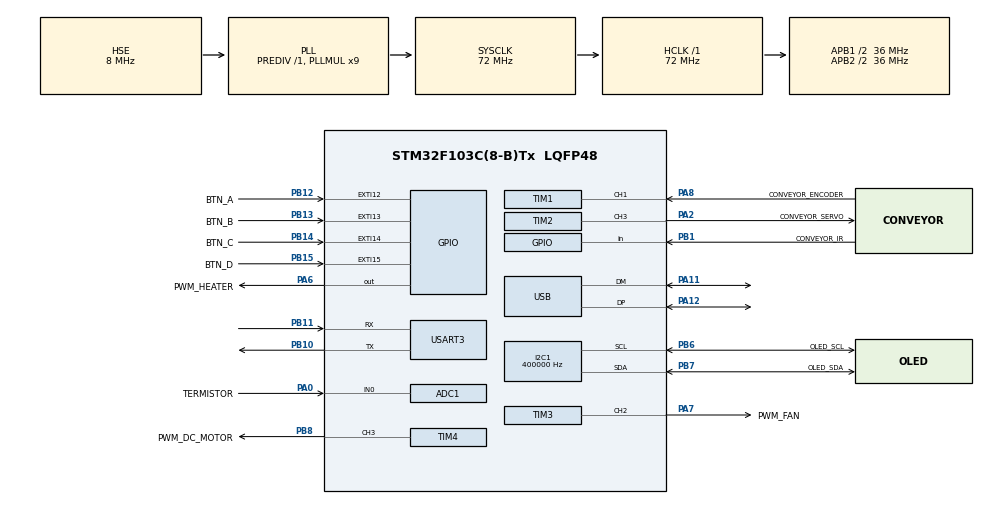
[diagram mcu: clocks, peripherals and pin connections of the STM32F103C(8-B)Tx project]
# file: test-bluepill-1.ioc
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ADC1.Channel-0\#ChannelRegularConversion=ADC_CHANNEL_0
ADC1.NbrOfConversionFlag=1
ADC1.Rank-0\#ChannelRegularConversion=1
ADC1.SamplingTime-0\#ChannelRegularConversion=ADC_SAMPLETIME_239CYCLES_5
ADC1.master=1
FREERTOS.Tasks01=defaultTask,24,256,StartDefaultTask,Default,NULL,Dynamic,NULL,NULL
I2C1.ClockSpeed=400000
Mcu.Family=STM32F1
Mcu.Name=STM32F103C(8-B)Tx
Mcu.Package=LQFP48
NVIC.EXTI15_10_IRQn=true\:5\:0\:false\:false\:true\:true\:true\:true\:true
NVIC.PriorityGroup=NVIC_PRIORITYGROUP_4
NVIC.TimeBase=SysTick_IRQn
NVIC.TimeBaseIP=SYS
NVIC.USB_LP_CAN1_RX0_IRQn=true\:5\:0\:false\:false\:true\:true\:false\:true\:true
PA0-WKUP.GPIO_Label=TERMISTOR
PA0-WKUP.Signal=ADCx_IN0
PA2.GPIO_Label=CONVEYOR_SERVO
PA2.Signal=S_TIM2_CH3
PA11.Mode=Device
PA11.Signal=USB_DM
PA12.Mode=Device
PA12.Signal=USB_DP
PA13.Mode=Serial_Wire
PA13.Signal=SYS_JTMS-SWDIO
PA14.Mode=Serial_Wire
PA14.Signal=SYS_JTCK-SWCLK
PA6.GPIO_Label=PWM_HEATER
PA6.GPIO_ModeDefaultOutputPP=GPIO_MODE_OUTPUT_PP
PA6.Signal=GPIO_Output
PA7.GPIO_Label=PWM_FAN
PA7.GPIO_Mode=GPIO_MODE_AF_OD
PA7.GPIO_PuPdOD=GPIO_NOPULL
PA7.GPIO_Speed=GPIO_SPEED_FREQ_HIGH
PA7.Signal=S_TIM3_CH2
PA8.GPIO_Label=CONVEYOR_ENCODER
PA8.GPIO_PuPd=GPIO_PULLDOWN
PA8.Signal=S_TIM1_CH1
PB1.GPIO_Label=CONVEYOR_IR
PB1.GPIO_PuPd=GPIO_PULLUP
PB1.Signal=GPIO_Input
PB10.Mode=Asynchronous
PB10.Signal=USART3_TX
PB11.Mode=Asynchronous
PB11.Signal=USART3_RX
PB12.GPIO_Label=BTN_A
PB12.GPIO_ModeDefaultEXTI=GPIO_MODE_IT_FALLING
PB12.GPIO_PuPd=GPIO_PULLUP
PB12.Signal=GPXTI12
PB13.GPIO_Label=BTN_B
PB13.GPIO_ModeDefaultEXTI=GPIO_MODE_IT_FALLING
PB13.GPIO_PuPd=GPIO_PULLUP
PB13.Signal=GPXTI13
PB14.GPIO_Label=BTN_C
PB14.GPIO_ModeDefaultEXTI=GPIO_MODE_IT_FALLING
PB14.GPIO_PuPd=GPIO_PULLUP
PB14.Signal=GPXTI14
PB15.GPIO_Label=BTN_D
PB15.GPIO_ModeDefaultEXTI=GPIO_MODE_IT_FALLING
PB15.GPIO_PuPd=GPIO_PULLUP
PB15.Signal=GPXTI15
PB6.GPIO_Label=OLED_SCL
PB6.Mode=I2C
PB6.Signal=I2C1_SCL
PB7.GPIO_Label=OLED_SDA
PB7.Mode=I2C
PB7.Signal=I2C1_SDA
PB8.GPIO_Label=PWM_DC_MOTOR
PB8.Signal=S_TIM4_CH3
PD0-OSC_IN.Mode=HSE-External-Oscillator
PD0-OSC_IN.Signal=RCC_OSC_IN
PD1-OSC_OUT.Mode=HSE-External-Oscillator
PD1-OSC_OUT.Signal=RCC_OSC_OUT
ProjectManager.HeapSize=0x0
ProjectManager.StackSize=0x400
ProjectManager.TargetToolchain=CMake
RCC.ADCPresc=RCC_ADCPCLK2_DIV6
RCC.AHBFreq_Value=72000000
RCC.APB1CLKDivider=RCC_HCLK_DIV2
RCC.APB1Freq_Value=36000000
RCC.APB1TimFreq_Value=72000000
RCC.APB2CLKDivider=RCC_HCLK_DIV2
RCC.APB2Freq_Value=36000000
RCC.APB2TimFreq_Value=72000000
RCC.HCLKFreq_Value=72000000
RCC.PLLMUL=RCC_PLL_MUL9
RCC.SYSCLKFreq_VALUE=72000000
RCC.SYSCLKSource=RCC_SYSCLKSOURCE_PLLCLK
RCC.USBFreq_Value=48000000
RCC.USBPrescaler=RCC_USBCLKSOURCE_PLL_DIV1_5
SH.ADCx_IN0.0=ADC1_IN0,IN0
SH.S_TIM1_CH1.0=TIM1_CH1,External Clock Mode1
SH.S_TIM2_CH3.0=TIM2_CH3,PWM Generation3 CH3
SH.S_TIM3_CH2.0=TIM3_CH2,PWM Generation2 CH2
SH.S_TIM4_CH3.0=TIM4_CH3,PWM Generation3 CH3
TIM1.Channel-Clock\ Source=TIM_CHANNEL_1
TIM1.ICFilter=15
TIM1.Period=65535
TIM1.Prescaler=0
TIM2.Channel-PWM\ Generation3\ CH3=TIM_CHANNEL_3
TIM2.Period=19999
TIM2.Prescaler=71
TIM3.Channel-PWM\ Generation2\ CH2=TIM_CHANNEL_2
TIM3.Period=2879
TIM3.Prescaler=0
TIM4.Channel-PWM\ Generation3\ CH3=TIM_CHANNEL_3
TIM4.Period=3599
TIM4.Prescaler=0
USART3.VirtualMode=VM_ASYNC
USB_DEVICE.CLASS_NAME_FS=CDC
USB_DEVICE.VirtualMode=Cdc
USB_DEVICE.VirtualModeFS=Cdc_FS
VP_ADC1_TempSens_Input.Mode=IN-TempSens
VP_FREERTOS_VS_CMSIS_V2.Mode=CMSIS_V2
VP_USB_DEVICE_VS_USB_DEVICE_CDC_FS.Mode=CDC_FS
board=custom

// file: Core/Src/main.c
/* USER CODE BEGIN Header */
/**
  ******************************************************************************
  * @file           : main.c
  * @brief          : Main program body
  ******************************************************************************
  * @attention
  *
  * Copyright (c) 2026 STMicroelectronics.
  * All rights reserved.
  *
  * This software is licensed under terms that can be found in the LICENSE file
  * in the root directory of this software component.
  * If no LICENSE file comes with this software, it is provided AS-IS.
  *
  ******************************************************************************
  */
/* USER CODE END Header */
#include "main.h"
#include "FreeRTOS.h"
#include "task.h"
#include "adc.h"
#include "i2c.h"
#include "iwdg.h"
#include "tim.h"
#include "usart.h"
#include "usb_device.h"
#include "gpio.h"

void SystemClock_Config(void);
void MX_FREERTOS_Init(void);

int main(void)
{

  /* MCU Configuration--------------------------------------------------------*/

  /* Reset of all peripherals, Initializes the Flash interface and the Systick. */
  HAL_Init();

  /* Configure the system clock */
  SystemClock_Config();

  /* Initialize all configured peripherals */
  MX_GPIO_Init();
  MX_ADC1_Init();
  MX_I2C1_Init();
  MX_TIM1_Init();
  MX_TIM2_Init();
  MX_TIM3_Init();
  MX_TIM4_Init();
  MX_USART3_UART_Init();
  /* USER CODE BEGIN 2 */

  /* STM32_INIT_HID_USB_EARLY_INIT_BEGIN */
/* Start CDC before the RTOS scheduler. The generated default-task call is
  * harmless because MX_USB_DEVICE_Init() is idempotent. */
  MX_USB_DEVICE_Init();
/* STM32_INIT_HID_USB_EARLY_INIT_END */

  /* USER CODE END 2 */

  /* Create the statically allocated FreeRTOS tasks. */
  MX_FREERTOS_Init();

  /* Start the hardware timer before scheduling any supervised task. */
  MX_IWDG_Init();

  /* Start scheduler */
  vTaskStartScheduler();

  /* We should never get here as control is now taken by the scheduler */

  /* Infinite loop */
  while (1)
  {

  }
}

void SystemClock_Config(void)
{
  RCC_OscInitTypeDef RCC_OscInitStruct = {0};
  RCC_ClkInitTypeDef RCC_ClkInitStruct = {0};
  RCC_PeriphCLKInitTypeDef PeriphClkInit = {0};

  /** Initializes the RCC Oscillators according to the specified parameters
  * in the RCC_OscInitTypeDef structure.
  */
  RCC_OscInitStruct.OscillatorType = RCC_OSCILLATORTYPE_LSI|RCC_OSCILLATORTYPE_HSE;
  RCC_OscInitStruct.HSEState = RCC_HSE_ON;
  RCC_OscInitStruct.HSEPredivValue = RCC_HSE_PREDIV_DIV1;
  RCC_OscInitStruct.HSIState = RCC_HSI_ON;
  RCC_OscInitStruct.LSIState = RCC_LSI_ON;
  RCC_OscInitStruct.PLL.PLLState = RCC_PLL_ON;
  RCC_OscInitStruct.PLL.PLLSource = RCC_PLLSOURCE_HSE;
  RCC_OscInitStruct.PLL.PLLMUL = RCC_PLL_MUL9;
  if (HAL_RCC_OscConfig(&RCC_OscInitStruct) != HAL_OK)
  {
    Error_Handler();
  }

  /** Initializes the CPU, AHB and APB buses clocks
  */
  RCC_ClkInitStruct.ClockType = RCC_CLOCKTYPE_HCLK|RCC_CLOCKTYPE_SYSCLK
                              |RCC_CLOCKTYPE_PCLK1|RCC_CLOCKTYPE_PCLK2;
  RCC_ClkInitStruct.SYSCLKSource = RCC_SYSCLKSOURCE_PLLCLK;
  RCC_ClkInitStruct.AHBCLKDivider = RCC_SYSCLK_DIV1;
  RCC_ClkInitStruct.APB1CLKDivider = RCC_HCLK_DIV2;
  RCC_ClkInitStruct.APB2CLKDivider = RCC_HCLK_DIV2;

  if (HAL_RCC_ClockConfig(&RCC_ClkInitStruct, FLASH_LATENCY_2) != HAL_OK)
  {
    Error_Handler();
  }
  PeriphClkInit.PeriphClockSelection = RCC_PERIPHCLK_ADC|RCC_PERIPHCLK_USB;
  PeriphClkInit.AdcClockSelection = RCC_ADCPCLK2_DIV6;
  PeriphClkInit.UsbClockSelection = RCC_USBCLKSOURCE_PLL_DIV1_5;
  if (HAL_RCCEx_PeriphCLKConfig(&PeriphClkInit) != HAL_OK)
  {
    Error_Handler();
  }
}

void Error_Handler(void)
{
  __disable_irq();
  while (1)
  {
  }
}

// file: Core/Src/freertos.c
/* USER CODE BEGIN Header */
/**
  ******************************************************************************
  * File Name          : freertos.c
  * Description        : Code for freertos applications
  ******************************************************************************
  * @attention
  *
  * Copyright (c) 2026 STMicroelectronics.
  * All rights reserved.
  *
  * This software is licensed under terms that can be found in the LICENSE file
  * in the root directory of this software component.
  * If no LICENSE file comes with this software, it is provided AS-IS.
  *
  ******************************************************************************
  */
/* USER CODE END Header */

#include "FreeRTOS.h"
#include "task.h"
#include "main.h"

/* USER CODE BEGIN Includes */
#include "hardware_test.h"
#include "cdc_console.h"
#include "conveyor_app.h"
#include "heater_characterization.h"
#include "inspection.h"
#include "process_interlock.h"
#include "reflow.h"
#include "tim.h"
#include "task_stack_report.h"
#include "watchdog.h"

/* USER CODE END Includes */

/* USER CODE BEGIN Variables */
static StaticTask_t inputTaskControlBlock;
static StackType_t inputTaskStack[192];
TaskHandle_t inputTaskHandle;
static StaticTask_t cdcTaskControlBlock;
static StackType_t cdcTaskStack[224];   /* console + Pi protocol frames */
TaskHandle_t cdcTaskHandle;
static StaticTask_t reflowTaskControlBlock;
static StackType_t reflowTaskStack[96];
TaskHandle_t reflowTaskHandle;
static StaticTask_t conveyorTaskControlBlock;
static StackType_t conveyorTaskStack[96];
TaskHandle_t conveyorTaskHandle;
static StaticTask_t inspectionTaskControlBlock;
static StackType_t inspectionTaskStack[96];
TaskHandle_t inspectionTaskHandle;

/* USER CODE END Variables */
/* Definitions for defaultTask */
TaskHandle_t defaultTaskHandle;
static StaticTask_t defaultTaskControlBlock;
static StackType_t defaultTaskStack[256];
static StaticTask_t idleTaskControlBlock;
static StackType_t idleTaskStack[configMINIMAL_STACK_SIZE];

/* USER CODE BEGIN FunctionPrototypes */
void StartInputTask(void *argument);
void StartCdcTask(void *argument);
void StartReflowTask(void *argument);
void StartConveyorAppTask(void *argument);
void StartInspectionTask(void *argument);

/* USER CODE END FunctionPrototypes */

void StartDefaultTask(void *argument);

extern void MX_USB_DEVICE_Init(void);
void MX_FREERTOS_Init(void); /* (MISRA C 2004 rule 8.1) */

void MX_FREERTOS_Init(void) {
  /* USER CODE BEGIN Init */
  ProcessInterlock_Init();
  Reflow_Init();
  HeaterCharacterization_Init();
  ConveyorApp_Init();
  Inspection_Init();

  /* USER CODE END Init */

  /* Create the thread(s) */
  /* creation of defaultTask */
  defaultTaskHandle = xTaskCreateStatic(StartDefaultTask, "defaultTask",
      sizeof(defaultTaskStack) / sizeof(defaultTaskStack[0]), NULL, 2U,
      defaultTaskStack, &defaultTaskControlBlock);

  /* USER CODE BEGIN RTOS_THREADS */
  inputTaskHandle = xTaskCreateStatic(StartInputTask, "inputTask",
      sizeof(inputTaskStack) / sizeof(inputTaskStack[0]), NULL, 3U,
      inputTaskStack, &inputTaskControlBlock);
  cdcTaskHandle = xTaskCreateStatic(StartCdcTask, "cdcTask",
      sizeof(cdcTaskStack) / sizeof(cdcTaskStack[0]), NULL, 1U,
      cdcTaskStack, &cdcTaskControlBlock);
  reflowTaskHandle = xTaskCreateStatic(StartReflowTask, "thermalTask",
      sizeof(reflowTaskStack) / sizeof(reflowTaskStack[0]), NULL, 2U,
      reflowTaskStack, &reflowTaskControlBlock);
  conveyorTaskHandle = xTaskCreateStatic(StartConveyorAppTask, "conveyorTask",
      sizeof(conveyorTaskStack) / sizeof(conveyorTaskStack[0]), NULL, 2U,
      conveyorTaskStack, &conveyorTaskControlBlock);
  inspectionTaskHandle = xTaskCreateStatic(StartInspectionTask, "inspectionTask",
      sizeof(inspectionTaskStack) / sizeof(inspectionTaskStack[0]), NULL, 1U,
      inspectionTaskStack, &inspectionTaskControlBlock);
  /* USER CODE END RTOS_THREADS */

}

void StartDefaultTask(void *argument)
{
  /* init code for USB_DEVICE */
  MX_USB_DEVICE_Init();
  /* USER CODE BEGIN StartDefaultTask */
  HardwareTest_Init();

  /* Infinite loop */
  for(;;)
  {
    HardwareTest_Run();
    Watchdog_Heartbeat(WATCHDOG_ID_DEFAULT);
    vTaskDelay(pdMS_TO_TICKS(10U));
  }
  /* USER CODE END StartDefaultTask */
}

/* USER CODE BEGIN Application */

void StartInputTask(void *argument)
{
  (void)argument;
  for (;;)
  {
    HardwareTest_InputRun();
    Watchdog_Heartbeat(WATCHDOG_ID_INPUT);
    vTaskDelay(pdMS_TO_TICKS(10U));
  }
}

void StartCdcTask(void *argument)
{
  CDC_Console_Task(argument);
}

void StartReflowTask(void *argument)
{
  Reflow_Task(argument);
}

void StartConveyorAppTask(void *argument)
{
  ConveyorApp_Task(argument);
}

void StartInspectionTask(void *argument)
{
  Inspection_Task(argument);
}

void vApplicationGetIdleTaskMemory(StaticTask_t **task_buffer,
                                   StackType_t **stack_buffer,
                                   uint32_t *stack_size)
{
  *task_buffer = &idleTaskControlBlock;
  *stack_buffer = idleTaskStack;
  *stack_size = configMINIMAL_STACK_SIZE;
}

void vApplicationIdleHook(void)
{
  Watchdog_IdleHook();
}

uint8_t TaskStackReport_Get(uint8_t index, TaskStackReport *report)
{
  TaskHandle_t handle;
  uint16_t allocated_words;
  UBaseType_t free_words;

  if ((report == NULL) || (index >= TASK_STACK_REPORT_COUNT))
  {
    return 0U;
  }

  switch (index)
  {
    case 0U:
      handle = defaultTaskHandle;
      allocated_words = sizeof(defaultTaskStack) / sizeof(StackType_t);
      report->name = "DEFAULT";
      break;
    case 1U:
      handle = inputTaskHandle;
      allocated_words = sizeof(inputTaskStack) / sizeof(StackType_t);
      report->name = "INPUT";
      break;
    case 2U:
      handle = cdcTaskHandle;
      allocated_words = sizeof(cdcTaskStack) / sizeof(StackType_t);
      report->name = "CDC";
      break;
    case 3U:
      handle = reflowTaskHandle;
      allocated_words = sizeof(reflowTaskStack) / sizeof(StackType_t);
      report->name = "THERMAL";
      break;
    case 4U:
      handle = conveyorTaskHandle;
      allocated_words = sizeof(conveyorTaskStack) / sizeof(StackType_t);
      report->name = "CONVEY";
      break;
    case 5U:
      handle = inspectionTaskHandle;
      allocated_words = sizeof(inspectionTaskStack) / sizeof(StackType_t);
      report->name = "INSPECT";
      break;
    default:
      handle = xTaskGetIdleTaskHandle();
      allocated_words = sizeof(idleTaskStack) / sizeof(StackType_t);
      report->name = "IDLE";
      break;
  }

  if (handle == NULL)
  {
    return 0U;
  }

  free_words = uxTaskGetStackHighWaterMark(handle);
  if (free_words > allocated_words)
  {
    free_words = allocated_words;
  }
  report->allocated_bytes = (uint16_t)(allocated_words * sizeof(StackType_t));
  report->peak_used_bytes = (uint16_t)((allocated_words - free_words)
                                       * sizeof(StackType_t));
  return 1U;
}

void vApplicationStackOverflowHook(TaskHandle_t task, char *task_name)
{
  (void)task;
  (void)task_name;
  HAL_GPIO_WritePin(PWM_HEATER_GPIO_Port, PWM_HEATER_Pin, GPIO_PIN_RESET);
  __HAL_TIM_SET_COMPARE(&htim3, TIM_CHANNEL_2,
                        __HAL_TIM_GET_AUTORELOAD(&htim3) + 1U);
  __HAL_TIM_SET_COMPARE(&htim4, TIM_CHANNEL_3, 0U);
  taskDISABLE_INTERRUPTS();
  for (;;)
  {
  }
}

/* USER CODE END Application */
